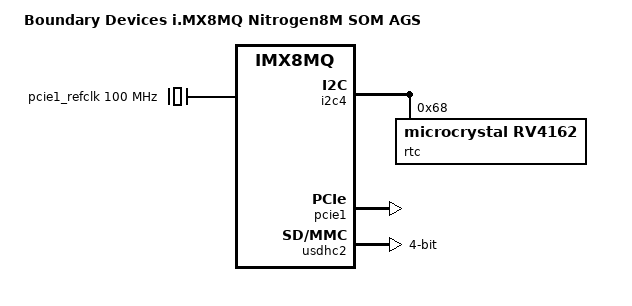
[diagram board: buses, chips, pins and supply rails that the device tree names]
// SPDX-License-Identifier: (GPL-2.0+ OR MIT)
/*
 * Copyright 2020 Boundary Devices
 */

#include "imx8mq-nitrogen8m_som_sd.dts"

/ {
	model = "Boundary Devices i.MX8MQ Nitrogen8M SOM AGS";
	compatible = "boundary,imx8mq-nitrogen8m_som-ags", "fsl,imx8mq";

	aliases {
		/delete-property/ csi0;
		/delete-property/ csi1;
	};

	pcie1_refclk: pcie1-refclk {
		compatible = "fixed-clock";
		#clock-cells = <0>;
		clock-frequency = <100000000>;
	};
	/delete-node/ sound-wm8960;
};

&iomuxc {
	/delete-node/ i2c2-csi1grp;
	/delete-node/ i2c3-csi2grp;
	/delete-node/ i2c4-pca9546grp;
	/delete-node/ i2c4b-wm8960grp;
	/delete-node/ pcie0grp;

	pinctrl_pcie1: pcie1grp {
		fsl,pins = <
#define GP_PCIE1_RESET		<&gpio1 10 GPIO_ACTIVE_LOW>
			MX8MQ_IOMUXC_GPIO1_IO10_GPIO1_IO10		0x19	/* Pin 105 */
		>;
	};

	pinctrl_hog: hoggrp {
		fsl,pins = <
			/* J1 connector, odd */
			MX8MQ_IOMUXC_GPIO1_IO10_GPIO1_IO10		0x19	/* Pin 105 */
			MX8MQ_IOMUXC_GPIO1_IO05_GPIO1_IO5		0x19	/* Pin 143 */
			MX8MQ_IOMUXC_GPIO1_IO03_GPIO1_IO3		0x19	/* Pin 145 */
			MX8MQ_IOMUXC_NAND_CE1_B_GPIO3_IO2		0x19	/* Pin 147 */
			MX8MQ_IOMUXC_NAND_CE3_B_GPIO3_IO4		0x19	/* Pin 149 */
			MX8MQ_IOMUXC_NAND_READY_B_GPIO3_IO16		0x19	/* Pin 153 */
			MX8MQ_IOMUXC_NAND_DATA05_GPIO3_IO11		0x19	/* Pin 155 */
			MX8MQ_IOMUXC_NAND_WP_B_GPIO3_IO18		0x19	/* Pin 157 */

			/* J1 connector, even */
			MX8MQ_IOMUXC_NAND_DATA04_GPIO3_IO10		0x19	/* Pin 82 */
			MX8MQ_IOMUXC_NAND_DATA03_GPIO3_IO9		0x19	/* Pin 84 */
			MX8MQ_IOMUXC_NAND_DATA02_GPIO3_IO8		0x19	/* Pin 86 */
			MX8MQ_IOMUXC_NAND_DATA01_GPIO3_IO7		0x19	/* Pin 88 */
			MX8MQ_IOMUXC_NAND_DATA00_GPIO3_IO6		0x19	/* Pin 90 */
			MX8MQ_IOMUXC_NAND_CE0_B_GPIO3_IO1		0x19	/* Pin 92 */
			MX8MQ_IOMUXC_NAND_ALE_GPIO3_IO0			0x19	/* Pin 96 */
			MX8MQ_IOMUXC_SAI1_TXD1_GPIO4_IO13		0x19	/* Pin 132 */
			MX8MQ_IOMUXC_SAI1_TXD2_GPIO4_IO14		0x19	/* Pin 134 */
			MX8MQ_IOMUXC_SAI1_TXD3_GPIO4_IO15		0x19	/* Pin 136 */
			MX8MQ_IOMUXC_SAI1_TXD4_GPIO4_IO16		0x19	/* Pin 138 */
			MX8MQ_IOMUXC_SAI1_TXD5_GPIO4_IO17		0x19	/* Pin 140 */
			MX8MQ_IOMUXC_SAI1_TXD6_GPIO4_IO18		0x19	/* Pin 142 */
			MX8MQ_IOMUXC_SAI1_TXD7_GPIO4_IO19		0x19	/* Pin 144 */
			MX8MQ_IOMUXC_SAI1_RXD1_GPIO4_IO3		0x19	/* Pin 146 */
			MX8MQ_IOMUXC_SAI1_RXD2_GPIO4_IO4		0x19	/* Pin 148 */
			MX8MQ_IOMUXC_SAI1_RXD3_GPIO4_IO5		0x19	/* Pin 150 */
			MX8MQ_IOMUXC_SAI1_RXD4_GPIO4_IO6		0x19	/* Pin 152 */
			MX8MQ_IOMUXC_SAI1_RXD5_GPIO4_IO7		0x19	/* Pin 154 */
			MX8MQ_IOMUXC_SAI1_RXD6_GPIO4_IO8		0x19	/* Pin 156 */
			MX8MQ_IOMUXC_SAI1_RXD7_GPIO4_IO9		0x19	/* Pin 158 */
			MX8MQ_IOMUXC_SAI1_RXC_GPIO4_IO1			0x19	/* Pin 160 */
			MX8MQ_IOMUXC_SAI1_RXFS_GPIO4_IO0		0x19	/* Pin 162 */
			MX8MQ_IOMUXC_SAI3_RXFS_GPIO4_IO28		0x19	/* Pin 198 */
			MX8MQ_IOMUXC_SAI3_RXC_GPIO4_IO29		0x19	/* Pin 200 */

			/* J13 Pin 2, BT_FUNC5 (TiWI only) */
			MX8MQ_IOMUXC_SAI5_RXD2_GPIO3_IO23		0xd6
			/* J13 Pin 4, WL_IRQ, not needed for Silex */
			MX8MQ_IOMUXC_SAI5_RXD0_GPIO3_IO21		0xd6
			/* J13 Pin 41, BT_CLK_REQ */
			MX8MQ_IOMUXC_SAI5_RXD1_GPIO3_IO22		0xd6
			/* J13 Pin 42, BT_HOST_WAKE */
			MX8MQ_IOMUXC_SAI5_MCLK_GPIO3_IO25		0xd6
			MX8MQ_IOMUXC_SPDIF_EXT_CLK_GPIO5_IO5		0x19	/* TP79 */
			MX8MQ_IOMUXC_GPIO1_IO08_GPIO1_IO8		0x49	/* TP80 */

			/* Clock for both CSI1 and CSI2 */
			MX8MQ_IOMUXC_GPIO1_IO15_CCMSRCGPCMIX_CLKO2	0x07
		>;
	};

	pinctrl_usdhc2: usdhc2grp {
		fsl,pins = <
			MX8MQ_IOMUXC_SD2_CLK_USDHC2_CLK			0x03
			MX8MQ_IOMUXC_SD2_CMD_USDHC2_CMD			0xc3
			MX8MQ_IOMUXC_SD2_DATA0_USDHC2_DATA0		0xc3
			MX8MQ_IOMUXC_SD2_DATA1_USDHC2_DATA1		0xc3
			MX8MQ_IOMUXC_SD2_DATA2_USDHC2_DATA2		0xc3
			MX8MQ_IOMUXC_SD2_DATA3_USDHC2_DATA3		0xc3
#define GP_USDHC2_CD	<&gpio2 12 GPIO_ACTIVE_LOW>
			MX8MQ_IOMUXC_SD2_CD_B_GPIO2_IO12		0x19
		>;
	};
};

/delete-node/ &csi1_bridge;
/delete-node/ &csi2_bridge;
/delete-node/ &mipi_csi_1;
/delete-node/ &mipi_csi_2;

&i2c2 {
	/delete-node/ ov5640-mipi1@3c;
};

&i2c3 {
	/delete-node/ ov5640-mipi2@3c;
};

&i2c4 {
	/delete-node/ i2cmux@70;

	rtc@68 {
		compatible = "microcrystal,rv4162";
		pinctrl-names = "default";
		pinctrl-0 = <&pinctrl_i2c4d_rv4162>;
		reg = <0x68>;
		interrupts-extended = GPIRQ_RV4162;
		wakeup-source;
	};
};

/delete-node/ &pcie0;

&pcie1 {
	/delete-property/ hard-wired;
#if 0
	/* Leave in hog group for now */
	pinctrl-names = "default";
	pinctrl-0 = <&pinctrl_pcie1>;
#endif
	reset-gpio = GP_PCIE1_RESET;
	clocks = <&clk IMX8MQ_CLK_PCIE2_ROOT>,
		<&clk IMX8MQ_CLK_PCIE2_AUX>,
		<&clk IMX8MQ_CLK_PCIE2_PHY>,
		<&pcie1_refclk>;
	clock-names = "pcie", "pcie_bus", "pcie_phy", "pcie_ext_src";
	ext_osc = <0>;
	status = "okay";
};

&usdhc2 {
	/delete-property/ non-removable;
	/delete-property/ vmmc-supply;
	/* carrier has 1.8 to 3.3 level translator */
	vqmmc-1-8-v;
	bus-width = <4>;
	cd-gpios = GP_USDHC2_CD;
	pinctrl-names = "default";
	status = "okay";
};
